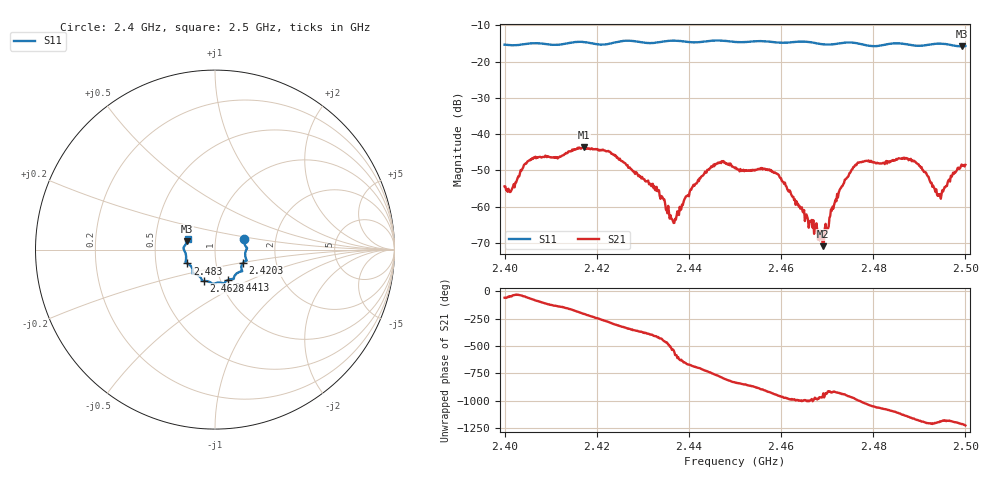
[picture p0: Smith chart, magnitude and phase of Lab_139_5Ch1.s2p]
# Hz S RI R 50
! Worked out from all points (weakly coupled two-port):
!   601 points, 2.4 GHz to 2.5 GHz, reference 50 ohm
!   highest |S21| = -43.60 dB at 2.4172 GHz (marker M1); lowest = -70.9 dB at 2.4692 GHz (marker M2)
!   lowest |S11| = -15.8 dB at 2.4992 GHz (marker M3), VSWR 1.39, Z = 36.4 + j3.54 ohm
!   |S11| at or under -10 dB: start of sweep to end of sweep
!   S12 and S22 are empty: the file has one direction only
!   S11 on the Smith chart (normalised r, x): 2.4 GHz: 1.37, +0.16; 2.4203 GHz: 1.35, -0.21; 2.4413 GHz: 1.09, -0.38; 2.4628 GHz: 0.83, -0.30; 2.483 GHz: 0.72, -0.11; 2.5 GHz: 0.73, +0.09
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2.4e9  0.1608 0.057  0.000945 -0.00165  0 0  0 0
2.401667e9  0.1629 0.039  0.00137 -0.00115  0 0  0 0
2.406167e9  0.1782 0.00962  0.00103 -0.00442  0 0  0 0
2.416667e9  0.1762 -0.0613  -0.00594 0.00216  0 0  0 0
2.417167e9  0.175 -0.062  -0.00585 0.00306  0 0  0 0
2.420333e9  0.1553 -0.0739  -0.00209 0.00564  0 0  0 0
2.433333e9  0.1081 -0.1483  0.000882 -0.00142  0 0  0 0
2.436667e9  0.1039 -0.1638  -0.000594 -1.99e-05  0 0  0 0
2.441333e9  0.0744 -0.1681  0.00172 0.00108  0 0  0 0
2.446167e9  0.0495 -0.1887  0.00259 -0.00292  0 0  0 0
2.45e9  0.0294 -0.1838  -0.00128 -0.00313  0 0  0 0
2.459e9  -0.0301 -0.1807  -0.00205 0.00201  0 0  0 0
2.462833e9  -0.0629 -0.1747  -0.000113 0.00122  0 0  0 0
2.466667e9  -0.0743 -0.1676  -7.78e-05 0.00065  0 0  0 0
2.469167e9  -0.0856 -0.1498  -0.000243 0.000147  0 0  0 0
2.476167e9  -0.125 -0.1295  -0.000401 0.00375  0 0  0 0
2.483e9  -0.1549 -0.0769  0.00391 5.75e-05  0 0  0 0
2.483333e9  -0.157 -0.0759  0.00418 -0.000213  0 0  0 0
2.489333e9  -0.1608 -0.0369  -7.09e-05 -0.00398  0 0  0 0
2.494333e9  -0.1763 0.00775  -0.000566 -0.00129  0 0  0 0
2.499167e9  -0.1549 0.0473  -0.00252 -0.00285  0 0  0 0
2.5e9  -0.1526 0.0586  -0.00304 -0.00221  0 0  0 0
